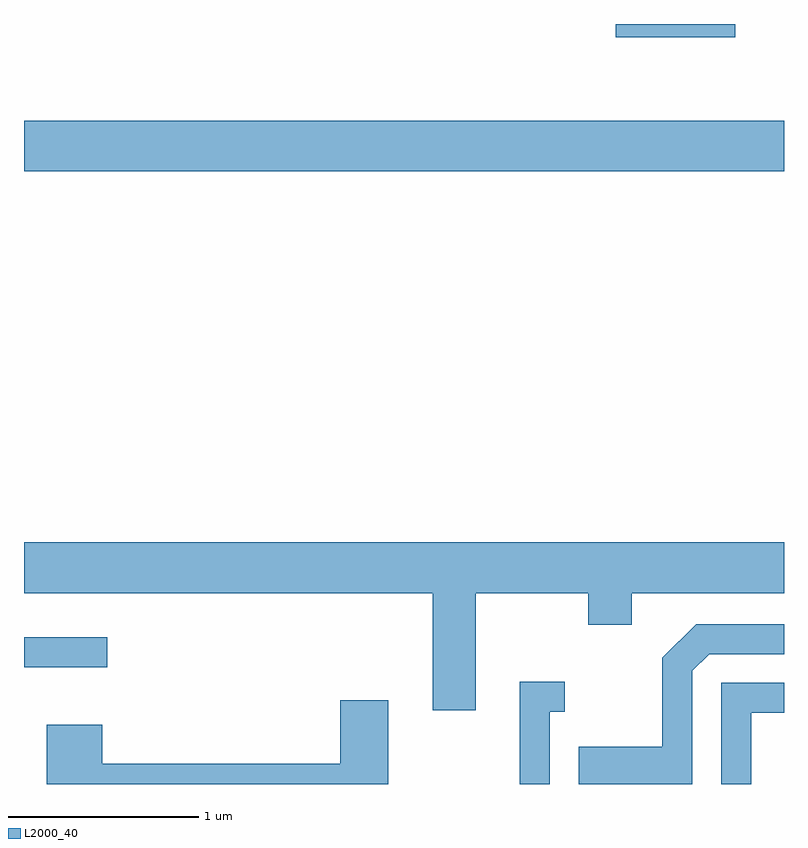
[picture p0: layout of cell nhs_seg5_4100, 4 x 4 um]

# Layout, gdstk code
import gdstk
lib = gdstk.Library(unit=1e-6, precision=1e-09)
def R(c, l, rs):  # rectangles x0, y0, x1, y1
    for r in rs: c.add(gdstk.rectangle(r[:2], r[2:], *l))
def P(c, l, *ps):  # polygons
    for p in ps: c.add(gdstk.Polygon(p, *l))
L2000_40 = (2000, 40)

nhs_seg5_4100 = lib.new_cell('nhs_seg5_4100')
R(nhs_seg5_4100, L2000_40, [(307.611,1398.686,308.048,1398.844), (307.611,1401.296,311.611,1401.564), (310.726,1402.001,311.354,1402.072)])
P(nhs_seg5_4100, L2000_40, [(309.989,1399.076),(310.581,1399.076),(310.581,1398.911),(310.809,1398.911),(310.809,1399.076),(311.611,1399.076),(311.611,1399.344),(307.611,1399.344),(307.611,1399.076),(309.761,1399.076),(309.761,1398.461),(309.989,1398.461)],
  [(311.129,1398.669),(311.217,1398.756),(311.611,1398.756),(311.611,1398.914),(311.149,1398.914),(310.971,1398.737),(310.971,1398.269),(310.531,1398.269),(310.531,1398.072),(311.129,1398.072)],
  [(310.379,1398.451),(310.458,1398.451),(310.458,1398.609),(310.221,1398.609),(310.221,1398.072),(310.379,1398.072)],
  [(311.439,1398.446),(311.611,1398.446),(311.611,1398.604),(311.281,1398.604),(311.281,1398.072),(311.439,1398.072)],
  [(309.529,1398.514),(309.276,1398.514),(309.276,1398.179),(308.024,1398.179),(308.024,1398.384),(307.731,1398.384),(307.731,1398.072),(309.529,1398.072)])

lib.write_gds('nhs_seg5_4100.gds')
